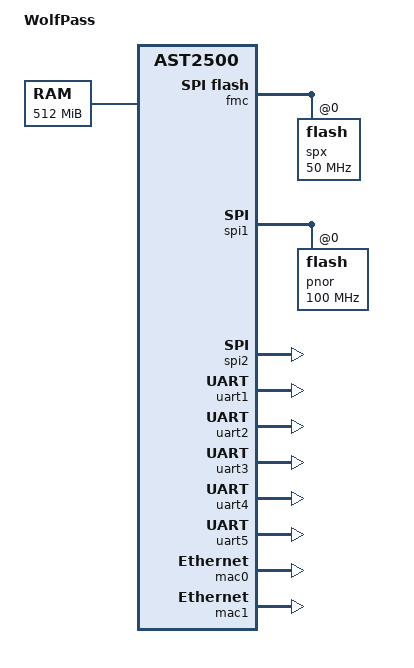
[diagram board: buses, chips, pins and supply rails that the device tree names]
// SPDX-License-Identifier: GPL-2.0+
/dts-v1/;

#include "aspeed-g5.dtsi"

/ {
	model = "WolfPass";
	compatible = "aspeed,ast2500";

	aliases {
		serial0 = &uart1;
		serial1 = &uart2;
		serial2 = &uart3;
		serial3 = &uart4;
		serial4 = &uart5;
	};

	memory@80000000 {
		device_type = "memory";
		reg = <0x80000000 0x20000000>;
	};

	reserved-memory {
		#address-cells = <1>;
		#size-cells = <1>;
		ranges;

		gfx_memory: framebuffer {
			size = <0x01000000>;
			alignment = <0x01000000>;
			compatible = "shared-dma-pool";
			reusable;
		};
	};
};

&fmc {
	status = "okay";
	flash@0 {
		status = "okay";
		m25p,fast-read;
		spi-max-frequency = <50000000>;
 		label = "spx";
        partitions {
           compatible = "ami,spx-fmh";
       };

	};
};

&spi1 {
	status = "okay";
	flash@0 {
		status = "okay";
		m25p,fast-read;
		label = "pnor";
		spi-max-frequency = <100000000>;
	};
};

&spi2 {
	status = "okay";
};

&uart1 {
	status = "okay";
};

&uart2 {
	status = "okay";
};

&uart3 {
	status = "okay";
};

&uart4 {
	status = "okay";
};

&uart5 {
	status = "okay";
};

&mac0 {
	status = "okay";
	pinctrl-names = "default";
	pinctrl-0 = <&pinctrl_rgmii1_default &pinctrl_mdio1_default>;
};

&mac1 {
	status = "okay";
	pinctrl-names = "default";
	pinctrl-0 = <&pinctrl_rgmii2_default &pinctrl_mdio2_default>;
};


#include "legacy.dtsi"
